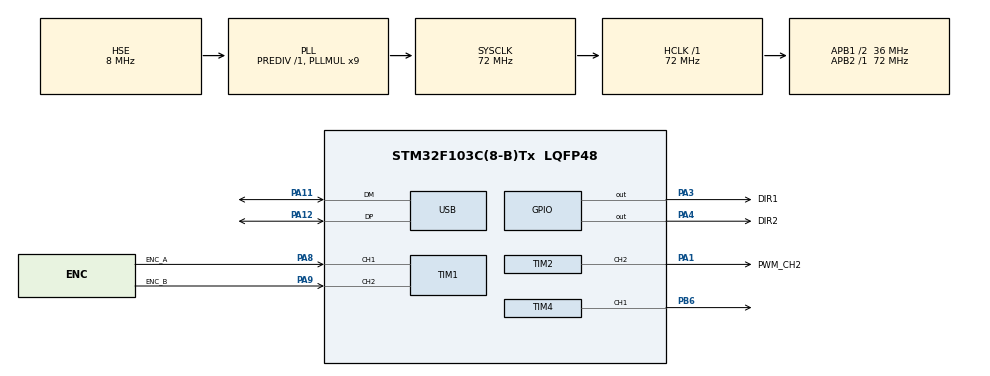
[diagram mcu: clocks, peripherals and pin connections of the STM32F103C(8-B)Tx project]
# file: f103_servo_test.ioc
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Mcu.Family=STM32F1
Mcu.Name=STM32F103C(8-B)Tx
Mcu.Package=LQFP48
NVIC.PriorityGroup=NVIC_PRIORITYGROUP_4
NVIC.TIM3_IRQn=true\:2\:0\:true\:false\:true\:true\:true\:true
NVIC.USB_LP_CAN1_RX0_IRQn=true\:0\:0\:false\:false\:true\:false\:true\:true
PA1.GPIO_Label=PWM_CH2
PA1.Signal=S_TIM2_CH2
PA11.Mode=Device
PA11.Signal=USB_DM
PA12.Mode=Device
PA12.Signal=USB_DP
PA13.Mode=Serial_Wire
PA13.Signal=SYS_JTMS-SWDIO
PA14.Mode=Serial_Wire
PA14.Signal=SYS_JTCK-SWCLK
PA3.GPIO_Label=DIR1
PA3.Signal=GPIO_Output
PA4.GPIO_Label=DIR2
PA4.Signal=GPIO_Output
PA8.GPIO_Label=ENC_A
PA8.Signal=S_TIM1_CH1
PA9.GPIO_Label=ENC_B
PA9.Signal=S_TIM1_CH2
PB6.Signal=S_TIM4_CH1
PD0-OSC_IN.Mode=HSE-External-Oscillator
PD0-OSC_IN.Signal=RCC_OSC_IN
PD1-OSC_OUT.Mode=HSE-External-Oscillator
PD1-OSC_OUT.Signal=RCC_OSC_OUT
ProjectManager.HeapSize=0x200
ProjectManager.StackSize=0x400
ProjectManager.TargetToolchain=Makefile
RCC.ADCPresc=RCC_ADCPCLK2_DIV6
RCC.AHBFreq_Value=72000000
RCC.APB1CLKDivider=RCC_HCLK_DIV2
RCC.APB1Freq_Value=36000000
RCC.APB1TimFreq_Value=72000000
RCC.APB2Freq_Value=72000000
RCC.APB2TimFreq_Value=72000000
RCC.HCLKFreq_Value=72000000
RCC.PLLMUL=RCC_PLL_MUL9
RCC.PLLSourceVirtual=RCC_PLLSOURCE_HSE
RCC.SYSCLKFreq_VALUE=72000000
RCC.SYSCLKSource=RCC_SYSCLKSOURCE_PLLCLK
RCC.USBFreq_Value=48000000
RCC.USBPrescaler=RCC_USBCLKSOURCE_PLL_DIV1_5
SH.S_TIM1_CH1.0=TIM1_CH1,Encoder_Interface
SH.S_TIM1_CH2.0=TIM1_CH2,Encoder_Interface
SH.S_TIM2_CH2.0=TIM2_CH2,PWM Generation2 CH2
SH.S_TIM4_CH1.0=TIM4_CH1,PWM Generation1 CH1
TIM1.EncoderMode=TIM_ENCODERMODE_TI12
TIM1.IC1Filter=0
TIM1.IC2Filter=0
TIM2.AutoReloadPreload=TIM_AUTORELOAD_PRELOAD_ENABLE
TIM2.Channel-PWM\ Generation2\ CH2=TIM_CHANNEL_2
TIM2.Period=1000-1
TIM2.Prescaler=4-1
TIM3.Period=1000-1
TIM3.Prescaler=72-1
TIM4.Channel-PWM\ Generation1\ CH1=TIM_CHANNEL_1
TIM4.Period=1800-1
TIM4.Prescaler=800-1
USB_DEVICE.CLASS_NAME_FS=CDC
USB_DEVICE.VirtualMode=Cdc
USB_DEVICE.VirtualModeFS=Cdc_FS
VP_TIM2_VS_ClockSourceINT.Mode=Internal
VP_TIM3_VS_ClockSourceINT.Mode=Internal
VP_TIM4_VS_ClockSourceINT.Mode=Internal
VP_USB_DEVICE_VS_USB_DEVICE_CDC_FS.Mode=CDC_FS
board=custom

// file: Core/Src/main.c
/* USER CODE BEGIN Header */
/**
  ******************************************************************************
  * @file           : main.c
  * @brief          : Main program body
  ******************************************************************************
  * @attention
  *
  * Copyright (c) 2024 STMicroelectronics.
  * All rights reserved.
  *
  * This software is licensed under terms that can be found in the LICENSE file
  * in the root directory of this software component.
  * If no LICENSE file comes with this software, it is provided AS-IS.
  *
  ******************************************************************************
  */
/* USER CODE END Header */
#include "main.h"
#include "usb_device.h"

/* USER CODE BEGIN Includes */
#include "servocontroller.h"
#include <stdio.h>
#include "string.h"
/* USER CODE END Includes */

TIM_HandleTypeDef htim1;
TIM_HandleTypeDef htim2;
TIM_HandleTypeDef htim3;
TIM_HandleTypeDef htim4;

/* USER CODE BEGIN PV */
float ANGvalue = 0;
float VELvalue = 0;
uint16_t PWM_servo = 90;
servocontrol_t servo1;

// USB
uint8_t USBDataReady = 0;
uint8_t* USBDataBuffer;
uint8_t USBDataLength = 0;
/* USER CODE END PV */

void SystemClock_Config(void);
static void MX_GPIO_Init(void);
static void MX_TIM2_Init(void);
static void MX_TIM1_Init(void);
static void MX_TIM3_Init(void);
static void MX_TIM4_Init(void);
/* USER CODE BEGIN PFP */
void USBRxHandler(uint8_t* buf, uint16_t len){

  // if(strncmp((char*)buf,"HIGH", len) == 0){
  //   HAL_GPIO_WritePin(GPIOC, GPIO_PIN_13, GPIO_PIN_RESET);
  // }
  // else if (strncmp((char*)buf, "LOW", len) == 0) {
  //   HAL_GPIO_WritePin(GPIOC, GPIO_PIN_13, GPIO_PIN_SET);   // Выключить
  //        // Отправить подтверждение
  // }
  return;
}
/* USER CODE END PFP */

int main(void)
{

  /* MCU Configuration--------------------------------------------------------*/

  /* Reset of all peripherals, Initializes the Flash interface and the Systick. */
  HAL_Init();

  /* Configure the system clock */
  SystemClock_Config();

  /* Initialize all configured peripherals */
  MX_GPIO_Init();
  MX_TIM2_Init();
  MX_TIM1_Init();
  MX_TIM3_Init();
  MX_TIM4_Init();
  MX_USB_DEVICE_Init();
  /* USER CODE BEGIN 2 */

  servo_baseInit(&servo1, Double, 895.8775050487, 59, 0);
  servo_encoderInit(&servo1, &htim1, 1999);
  servo_driverInit(&servo1, &htim2, 2, DIR1_GPIO_Port, DIR1_Pin, DIR2_GPIO_Port, DIR2_Pin, 0, 999);
  servo_positionInit(&servo1, 3, 0, 0, 0.001, 0);
  servo_velocityInit(&servo1, 150, 1500, 0, 0.004, 0);

  __HAL_TIM_CLEAR_IT(&htim1, TIM_IT_UPDATE);
  HAL_TIM_Encoder_Start(&htim1, TIM_CHANNEL_ALL);

  // HAL_TIM_Encoder_Start_IT(&htim2, TIM_CHANNEL_2);
  HAL_TIM_PWM_Start(&htim2, TIM_CHANNEL_2); // �?нициализация PWM
  HAL_TIM_PWM_Start(&htim4, TIM_CHANNEL_1); // �?нициализация PWM
  HAL_TIM_Base_Start_IT(&htim3);
  HAL_TIM_Base_Start_IT(&htim4);
  // servo_controlVelocity(&servo1, 50);
  // servo_controlVelocity(&servo1, 200);
  // servo_controlPosition(&servo1, 180);

  /* USER CODE END 2 */

  /* Infinite loop */
  while (1)
  {

    /* USER CODE BEGIN 3 */

    servo_controlVelocity(&servo1, VELvalue); // 0 - 15
    htim4.Instance->CCR1 = PWM_servo + 27;    // 0 - 180

    // servo_controlPosition(&servo1, ANGvalue);
  }
  /* USER CODE END 3 */
}

void SystemClock_Config(void)
{
  RCC_OscInitTypeDef RCC_OscInitStruct = {0};
  RCC_ClkInitTypeDef RCC_ClkInitStruct = {0};
  RCC_PeriphCLKInitTypeDef PeriphClkInit = {0};

  /** Initializes the RCC Oscillators according to the specified parameters
  * in the RCC_OscInitTypeDef structure.
  */
  RCC_OscInitStruct.OscillatorType = RCC_OSCILLATORTYPE_HSE;
  RCC_OscInitStruct.HSEState = RCC_HSE_ON;
  RCC_OscInitStruct.HSEPredivValue = RCC_HSE_PREDIV_DIV1;
  RCC_OscInitStruct.HSIState = RCC_HSI_ON;
  RCC_OscInitStruct.PLL.PLLState = RCC_PLL_ON;
  RCC_OscInitStruct.PLL.PLLSource = RCC_PLLSOURCE_HSE;
  RCC_OscInitStruct.PLL.PLLMUL = RCC_PLL_MUL9;
  if (HAL_RCC_OscConfig(&RCC_OscInitStruct) != HAL_OK)
  {
    Error_Handler();
  }

  /** Initializes the CPU, AHB and APB buses clocks
  */
  RCC_ClkInitStruct.ClockType = RCC_CLOCKTYPE_HCLK|RCC_CLOCKTYPE_SYSCLK
                              |RCC_CLOCKTYPE_PCLK1|RCC_CLOCKTYPE_PCLK2;
  RCC_ClkInitStruct.SYSCLKSource = RCC_SYSCLKSOURCE_PLLCLK;
  RCC_ClkInitStruct.AHBCLKDivider = RCC_SYSCLK_DIV1;
  RCC_ClkInitStruct.APB1CLKDivider = RCC_HCLK_DIV2;
  RCC_ClkInitStruct.APB2CLKDivider = RCC_HCLK_DIV1;

  if (HAL_RCC_ClockConfig(&RCC_ClkInitStruct, FLASH_LATENCY_2) != HAL_OK)
  {
    Error_Handler();
  }
  PeriphClkInit.PeriphClockSelection = RCC_PERIPHCLK_USB;
  PeriphClkInit.UsbClockSelection = RCC_USBCLKSOURCE_PLL_DIV1_5;
  if (HAL_RCCEx_PeriphCLKConfig(&PeriphClkInit) != HAL_OK)
  {
    Error_Handler();
  }
}

static void MX_TIM1_Init(void)
{

  TIM_Encoder_InitTypeDef sConfig = {0};
  TIM_MasterConfigTypeDef sMasterConfig = {0};

  htim1.Instance = TIM1;
  htim1.Init.Prescaler = 0;
  htim1.Init.CounterMode = TIM_COUNTERMODE_UP;
  htim1.Init.Period = 65535;
  htim1.Init.ClockDivision = TIM_CLOCKDIVISION_DIV1;
  htim1.Init.RepetitionCounter = 0;
  htim1.Init.AutoReloadPreload = TIM_AUTORELOAD_PRELOAD_DISABLE;
  sConfig.EncoderMode = TIM_ENCODERMODE_TI12;
  sConfig.IC1Polarity = TIM_ICPOLARITY_RISING;
  sConfig.IC1Selection = TIM_ICSELECTION_DIRECTTI;
  sConfig.IC1Prescaler = TIM_ICPSC_DIV1;
  sConfig.IC1Filter = 0;
  sConfig.IC2Polarity = TIM_ICPOLARITY_RISING;
  sConfig.IC2Selection = TIM_ICSELECTION_DIRECTTI;
  sConfig.IC2Prescaler = TIM_ICPSC_DIV1;
  sConfig.IC2Filter = 0;
  if (HAL_TIM_Encoder_Init(&htim1, &sConfig) != HAL_OK)
  {
    Error_Handler();
  }
  sMasterConfig.MasterOutputTrigger = TIM_TRGO_RESET;
  sMasterConfig.MasterSlaveMode = TIM_MASTERSLAVEMODE_DISABLE;
  if (HAL_TIMEx_MasterConfigSynchronization(&htim1, &sMasterConfig) != HAL_OK)
  {
    Error_Handler();
  }

}

static void MX_TIM2_Init(void)
{

  TIM_ClockConfigTypeDef sClockSourceConfig = {0};
  TIM_MasterConfigTypeDef sMasterConfig = {0};
  TIM_OC_InitTypeDef sConfigOC = {0};

  htim2.Instance = TIM2;
  htim2.Init.Prescaler = 4-1;
  htim2.Init.CounterMode = TIM_COUNTERMODE_UP;
  htim2.Init.Period = 1000-1;
  htim2.Init.ClockDivision = TIM_CLOCKDIVISION_DIV1;
  htim2.Init.AutoReloadPreload = TIM_AUTORELOAD_PRELOAD_ENABLE;
  if (HAL_TIM_Base_Init(&htim2) != HAL_OK)
  {
    Error_Handler();
  }
  sClockSourceConfig.ClockSource = TIM_CLOCKSOURCE_INTERNAL;
  if (HAL_TIM_ConfigClockSource(&htim2, &sClockSourceConfig) != HAL_OK)
  {
    Error_Handler();
  }
  if (HAL_TIM_PWM_Init(&htim2) != HAL_OK)
  {
    Error_Handler();
  }
  sMasterConfig.MasterOutputTrigger = TIM_TRGO_RESET;
  sMasterConfig.MasterSlaveMode = TIM_MASTERSLAVEMODE_DISABLE;
  if (HAL_TIMEx_MasterConfigSynchronization(&htim2, &sMasterConfig) != HAL_OK)
  {
    Error_Handler();
  }
  sConfigOC.OCMode = TIM_OCMODE_PWM1;
  sConfigOC.Pulse = 0;
  sConfigOC.OCPolarity = TIM_OCPOLARITY_HIGH;
  sConfigOC.OCFastMode = TIM_OCFAST_DISABLE;
  if (HAL_TIM_PWM_ConfigChannel(&htim2, &sConfigOC, TIM_CHANNEL_2) != HAL_OK)
  {
    Error_Handler();
  }
  HAL_TIM_MspPostInit(&htim2);

}

static void MX_TIM3_Init(void)
{

  TIM_ClockConfigTypeDef sClockSourceConfig = {0};
  TIM_MasterConfigTypeDef sMasterConfig = {0};

  htim3.Instance = TIM3;
  htim3.Init.Prescaler = 72-1;
  htim3.Init.CounterMode = TIM_COUNTERMODE_UP;
  htim3.Init.Period = 1000-1;
  htim3.Init.ClockDivision = TIM_CLOCKDIVISION_DIV1;
  htim3.Init.AutoReloadPreload = TIM_AUTORELOAD_PRELOAD_DISABLE;
  if (HAL_TIM_Base_Init(&htim3) != HAL_OK)
  {
    Error_Handler();
  }
  sClockSourceConfig.ClockSource = TIM_CLOCKSOURCE_INTERNAL;
  if (HAL_TIM_ConfigClockSource(&htim3, &sClockSourceConfig) != HAL_OK)
  {
    Error_Handler();
  }
  sMasterConfig.MasterOutputTrigger = TIM_TRGO_RESET;
  sMasterConfig.MasterSlaveMode = TIM_MASTERSLAVEMODE_DISABLE;
  if (HAL_TIMEx_MasterConfigSynchronization(&htim3, &sMasterConfig) != HAL_OK)
  {
    Error_Handler();
  }

}

static void MX_TIM4_Init(void)
{

  TIM_ClockConfigTypeDef sClockSourceConfig = {0};
  TIM_MasterConfigTypeDef sMasterConfig = {0};
  TIM_OC_InitTypeDef sConfigOC = {0};

  htim4.Instance = TIM4;
  htim4.Init.Prescaler = 800-1;
  htim4.Init.CounterMode = TIM_COUNTERMODE_UP;
  htim4.Init.Period = 1800-1;
  htim4.Init.ClockDivision = TIM_CLOCKDIVISION_DIV1;
  htim4.Init.AutoReloadPreload = TIM_AUTORELOAD_PRELOAD_DISABLE;
  if (HAL_TIM_Base_Init(&htim4) != HAL_OK)
  {
    Error_Handler();
  }
  sClockSourceConfig.ClockSource = TIM_CLOCKSOURCE_INTERNAL;
  if (HAL_TIM_ConfigClockSource(&htim4, &sClockSourceConfig) != HAL_OK)
  {
    Error_Handler();
  }
  if (HAL_TIM_PWM_Init(&htim4) != HAL_OK)
  {
    Error_Handler();
  }
  sMasterConfig.MasterOutputTrigger = TIM_TRGO_RESET;
  sMasterConfig.MasterSlaveMode = TIM_MASTERSLAVEMODE_DISABLE;
  if (HAL_TIMEx_MasterConfigSynchronization(&htim4, &sMasterConfig) != HAL_OK)
  {
    Error_Handler();
  }
  sConfigOC.OCMode = TIM_OCMODE_PWM1;
  sConfigOC.Pulse = 0;
  sConfigOC.OCPolarity = TIM_OCPOLARITY_HIGH;
  sConfigOC.OCFastMode = TIM_OCFAST_DISABLE;
  if (HAL_TIM_PWM_ConfigChannel(&htim4, &sConfigOC, TIM_CHANNEL_1) != HAL_OK)
  {
    Error_Handler();
  }
  HAL_TIM_MspPostInit(&htim4);

}

static void MX_GPIO_Init(void)
{
  GPIO_InitTypeDef GPIO_InitStruct = {0};

  /* GPIO Ports Clock Enable */
  __HAL_RCC_GPIOD_CLK_ENABLE();
  __HAL_RCC_GPIOA_CLK_ENABLE();
  __HAL_RCC_GPIOB_CLK_ENABLE();

  /*Configure GPIO pin Output Level */
  HAL_GPIO_WritePin(GPIOA, DIR1_Pin|DIR2_Pin, GPIO_PIN_RESET);

  /*Configure GPIO pins : DIR1_Pin DIR2_Pin */
  GPIO_InitStruct.Pin = DIR1_Pin|DIR2_Pin;
  GPIO_InitStruct.Mode = GPIO_MODE_OUTPUT_PP;
  GPIO_InitStruct.Pull = GPIO_NOPULL;
  GPIO_InitStruct.Speed = GPIO_SPEED_FREQ_LOW;
  HAL_GPIO_Init(GPIOA, &GPIO_InitStruct);

}

void Error_Handler(void)
{
  __disable_irq();
  while (1)
  {
  }
}
